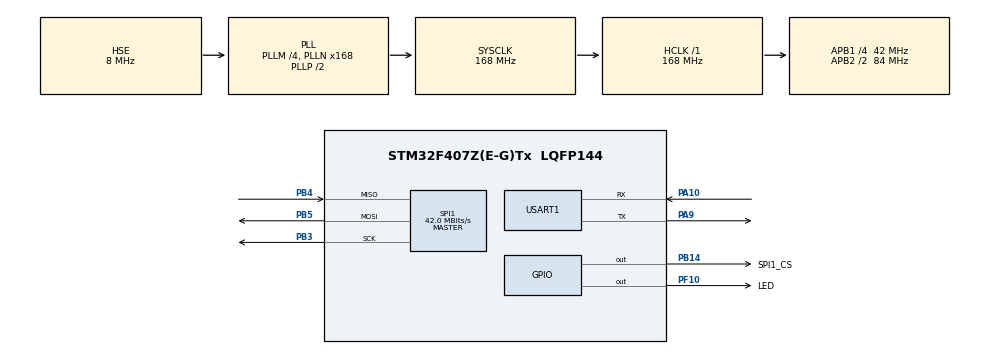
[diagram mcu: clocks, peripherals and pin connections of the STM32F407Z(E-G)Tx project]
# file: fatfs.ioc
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FATFS._CODE_PAGE=936
FATFS._MAX_SS=4096
FATFS._USE_LFN=2
FATFS._VOLUMES=2
Mcu.Family=STM32F4
Mcu.Name=STM32F407Z(E-G)Tx
Mcu.Package=LQFP144
NVIC.PriorityGroup=NVIC_PRIORITYGROUP_4
NVIC.USART1_IRQn=true\:0\:0\:false\:false\:true\:true\:true\:true
PA10.Mode=Asynchronous
PA10.Signal=USART1_RX
PA13.Mode=Serial_Wire
PA13.Signal=SYS_JTMS-SWDIO
PA14.Mode=Serial_Wire
PA14.Signal=SYS_JTCK-SWCLK
PA9.Mode=Asynchronous
PA9.Signal=USART1_TX
PB14.GPIO_Label=SPI1_CS
PB14.PinState=GPIO_PIN_SET
PB14.Signal=GPIO_Output
PB3.Mode=Full_Duplex_Master
PB3.Signal=SPI1_SCK
PB4.Mode=Full_Duplex_Master
PB4.Signal=SPI1_MISO
PB5.Mode=Full_Duplex_Master
PB5.Signal=SPI1_MOSI
PF10.GPIO_Label=LED
PF10.Signal=GPIO_Output
PH0-OSC_IN.Mode=HSE-External-Oscillator
PH0-OSC_IN.Signal=RCC_OSC_IN
PH1-OSC_OUT.Mode=HSE-External-Oscillator
PH1-OSC_OUT.Signal=RCC_OSC_OUT
ProjectManager.HeapSize=0x200
ProjectManager.StackSize=0x1000
ProjectManager.TargetToolchain=SW4STM32
RCC.48MHZClocksFreq_Value=84000000
RCC.AHBFreq_Value=168000000
RCC.APB1CLKDivider=RCC_HCLK_DIV4
RCC.APB1Freq_Value=42000000
RCC.APB1TimFreq_Value=84000000
RCC.APB2CLKDivider=RCC_HCLK_DIV2
RCC.APB2Freq_Value=84000000
RCC.APB2TimFreq_Value=168000000
RCC.CortexFreq_Value=168000000
RCC.HCLKFreq_Value=168000000
RCC.HSE_VALUE=8000000
RCC.HSI_VALUE=16000000
RCC.LSE_VALUE=32768
RCC.PLLM=4
RCC.PLLN=168
RCC.PLLSourceVirtual=RCC_PLLSOURCE_HSE
RCC.SYSCLKFreq_VALUE=168000000
RCC.SYSCLKSource=RCC_SYSCLKSOURCE_PLLCLK
RCC.VCOOutputFreq_Value=336000000
SPI1.CalculateBaudRate=42.0 MBits/s
SPI1.Direction=SPI_DIRECTION_2LINES
SPI1.Mode=SPI_MODE_MASTER
SPI1.VirtualType=VM_MASTER
USART1.VirtualMode=VM_ASYNC
VP_FATFS_VS_Generic.Mode=User_defined
board=custom

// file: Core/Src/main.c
/* USER CODE BEGIN Header */
/**
  ******************************************************************************
  * @file           : main.c
  * @brief          : Main program body
  ******************************************************************************
  * @attention
  *
  * Copyright (c) 2022 STMicroelectronics.
  * All rights reserved.
  *
  * This software is licensed under terms that can be found in the LICENSE file
  * in the root directory of this software component.
  * If no LICENSE file comes with this software, it is provided AS-IS.
  *
  ******************************************************************************
  */
/* USER CODE END Header */
#include "main.h"
#include "fatfs.h"
#include "spi.h"
#include "usart.h"
#include "gpio.h"

/* USER CODE BEGIN PV */
UINT fnum;                  //文件成功读写数量
BYTE * Work[_MAX_SS]; //读缓存区
const BYTE WriteBuffer[] = "Hello world!!\n";
/* USER CODE END PV */

void SystemClock_Config(void);

int main(void)
{

  /* MCU Configuration--------------------------------------------------------*/

  /* Reset of all peripherals, Initializes the Flash interface and the Systick. */
  HAL_Init();

  /* Configure the system clock */
  SystemClock_Config();

  /* Initialize all configured peripherals */
  MX_GPIO_Init();
  MX_SPI1_Init();
  MX_USART1_UART_Init();
  MX_FATFS_Init();
  /* USER CODE BEGIN 2 */
    printf("----------This is FATFS test -----------\r\n");
    //进行文件系统挂载
    retUSER = f_mount(&USERFatFS, USERPath, 0);
    if(retUSER == FR_NO_FILESYSTEM)
    {
        printf(">Flash doesn't have the filesystem!, will formal!\r\n");
        retUSER = f_mkfs(USERPath, 0, 4096, Work, sizeof(Work));
        if(retUSER == FR_OK)
        {
            printf(">formal success!\r\n");
            //取消挂载
            retUSER = f_mount(&USERFatFS, NULL, 1);
            retUSER = f_mount(&USERFatFS, USERPath, 1);
        }
        else
        {
            printf(">formal false!\r\n");
            while(1)
            {
                HAL_GPIO_TogglePin(LED_GPIO_Port, LED_Pin);
                HAL_Delay(1000);
            }
        }
    }
    else if(retUSER != FR_OK)
    {
        printf(">error: %d\r\n", retUSER);
        while(1)
        {
            HAL_GPIO_TogglePin(LED_GPIO_Port, LED_Pin);
            HAL_Delay(1000);
        }
    }
    else
        printf(">filesystem success!\r\n");

  /* USER CODE END 2 */

  /* Infinite loop */
  while (1)
  {

    /* USER CODE BEGIN 3 */
      HAL_GPIO_TogglePin(LED_GPIO_Port, LED_Pin);
      HAL_Delay(1000);
  }
  /* USER CODE END 3 */
}

void SystemClock_Config(void)
{
  RCC_OscInitTypeDef RCC_OscInitStruct = {0};
  RCC_ClkInitTypeDef RCC_ClkInitStruct = {0};

  /** Configure the main internal regulator output voltage
  */
  __HAL_RCC_PWR_CLK_ENABLE();
  __HAL_PWR_VOLTAGESCALING_CONFIG(PWR_REGULATOR_VOLTAGE_SCALE1);

  /** Initializes the RCC Oscillators according to the specified parameters
  * in the RCC_OscInitTypeDef structure.
  */
  RCC_OscInitStruct.OscillatorType = RCC_OSCILLATORTYPE_HSE;
  RCC_OscInitStruct.HSEState = RCC_HSE_ON;
  RCC_OscInitStruct.PLL.PLLState = RCC_PLL_ON;
  RCC_OscInitStruct.PLL.PLLSource = RCC_PLLSOURCE_HSE;
  RCC_OscInitStruct.PLL.PLLM = 4;
  RCC_OscInitStruct.PLL.PLLN = 168;
  RCC_OscInitStruct.PLL.PLLP = RCC_PLLP_DIV2;
  RCC_OscInitStruct.PLL.PLLQ = 4;
  if (HAL_RCC_OscConfig(&RCC_OscInitStruct) != HAL_OK)
  {
    Error_Handler();
  }

  /** Initializes the CPU, AHB and APB buses clocks
  */
  RCC_ClkInitStruct.ClockType = RCC_CLOCKTYPE_HCLK|RCC_CLOCKTYPE_SYSCLK
                              |RCC_CLOCKTYPE_PCLK1|RCC_CLOCKTYPE_PCLK2;
  RCC_ClkInitStruct.SYSCLKSource = RCC_SYSCLKSOURCE_PLLCLK;
  RCC_ClkInitStruct.AHBCLKDivider = RCC_SYSCLK_DIV1;
  RCC_ClkInitStruct.APB1CLKDivider = RCC_HCLK_DIV4;
  RCC_ClkInitStruct.APB2CLKDivider = RCC_HCLK_DIV2;

  if (HAL_RCC_ClockConfig(&RCC_ClkInitStruct, FLASH_LATENCY_5) != HAL_OK)
  {
    Error_Handler();
  }
}

void Error_Handler(void)
{
  __disable_irq();
  while (1)
  {
  }
}
